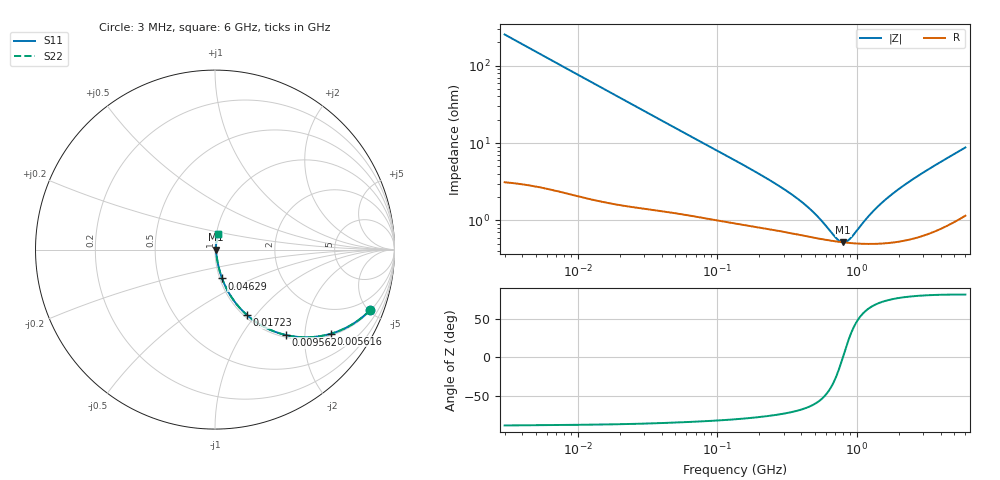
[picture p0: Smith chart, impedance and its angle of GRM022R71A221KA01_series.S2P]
!Murata Part Number: GRM022R71A221KA01
!These Parameters are Measured in Series Mode Connection
!  o--ll--o
!Port1  Port2
!  o------o
!Operation Temp=25[C], DC Bias Voltage=0[V]
!Freq. Start=3[MHz] Stop=6[GHz], 401[Steps]
# Hz S RI R 50
!Freq.(Hz)	S 11(Real)	S 11(Imag)	S 21(Real)	S 21(Imag)	S 12(Real)	S 12(Imag)	S 22(Real)	S 22(Imag)
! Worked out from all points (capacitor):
!   401 points, 3 MHz to 6 GHz, reference 50 ohm
!   read as one part in series: C = 209 pF near 3.116 MHz
!   lowest |Z| = 521 mohm at 800.5 MHz (marker M1)
!   series resonance near 794.6 MHz, so ESL is about 190 pH
!   S11 on the Smith chart (normalised r, x): 3 MHz: 1.06, -5.07; 5.616 MHz: 1.05, -2.72; 9.562 MHz: 1.04, -1.61; 17.23 MHz: 1.03, -0.90; 46.29 MHz: 1.03, -0.34; 6 GHz: 1.02, +0.17
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3000000  0.8622 -0.3386  0.1378 0.3386  0.1378 0.3386  0.8622 -0.3386
4065954  0.7747 -0.4101  0.2253 0.4101  0.2253 0.4101  0.7747 -0.4101
5616377  0.6464 -0.4685  0.3536 0.4685  0.3536 0.4685  0.6464 -0.4685
7328115  0.5216 -0.4883  0.4784 0.4883  0.4784 0.4883  0.5216 -0.4883
9561551  0.3949 -0.4759  0.6051 0.4759  0.6051 0.4759  0.3949 -0.4759
1.071627e7  0.344 -0.4613  0.656 0.4613  0.656 0.4613  0.344 -0.4613
1.723289e7  0.1764 -0.3631  0.8236 0.3631  0.8236 0.3631  0.1764 -0.3631
2.472618e7  0.1005 -0.2779  0.8995 0.2779  0.8995 0.2779  0.1005 -0.2779
3.82795e7  0.0515 -0.1908  0.9485 0.1908  0.9485 0.1908  0.0515 -0.1908
4.629052e7  0.0393 -0.1605  0.9607 0.1605  0.9607 0.1605  0.0393 -0.1605
7.586806e7  0.0212 -0.1009  0.9788 0.1009  0.9788 0.1009  0.0212 -0.1009
1.341641e8  0.0124 -0.0579  0.9876 0.0579  0.9876 0.0579  0.0124 -0.0579
2.980193e8  0.00768 -0.0243  0.9923 0.0243  0.9923 0.0243  0.00768 -0.0243
3.888485e8  0.00675 -0.0169  0.9933 0.0169  0.9933 0.0169  0.00675 -0.0169
4.792463e8  0.00614 -0.0116  0.9939 0.0116  0.9939 0.0116  0.00614 -0.0116
7.142707e8  0.00532 -0.00242  0.9947 0.00242  0.9947 0.00242  0.00532 -0.00242
8.005313e8  0.00518 0.000171  0.9948 -0.000171  0.9948 -0.000171  0.00518 0.000171
8.972093e8  0.00508 0.00279  0.9949 -0.00279  0.9949 -0.00279  0.00508 0.00279
1.263107e9  0.00507 0.0111  0.9949 -0.0111  0.9949 -0.0111  0.00507 0.0111
1.711911e9  0.00548 0.0196  0.9945 -0.0196  0.9945 -0.0196  0.00548 0.0196
2.859571e9  0.00762 0.0385  0.9924 -0.0385  0.9924 -0.0385  0.00762 0.0385
6e9  0.0186 0.0844  0.9814 -0.0844  0.9814 -0.0844  0.0186 0.0844
